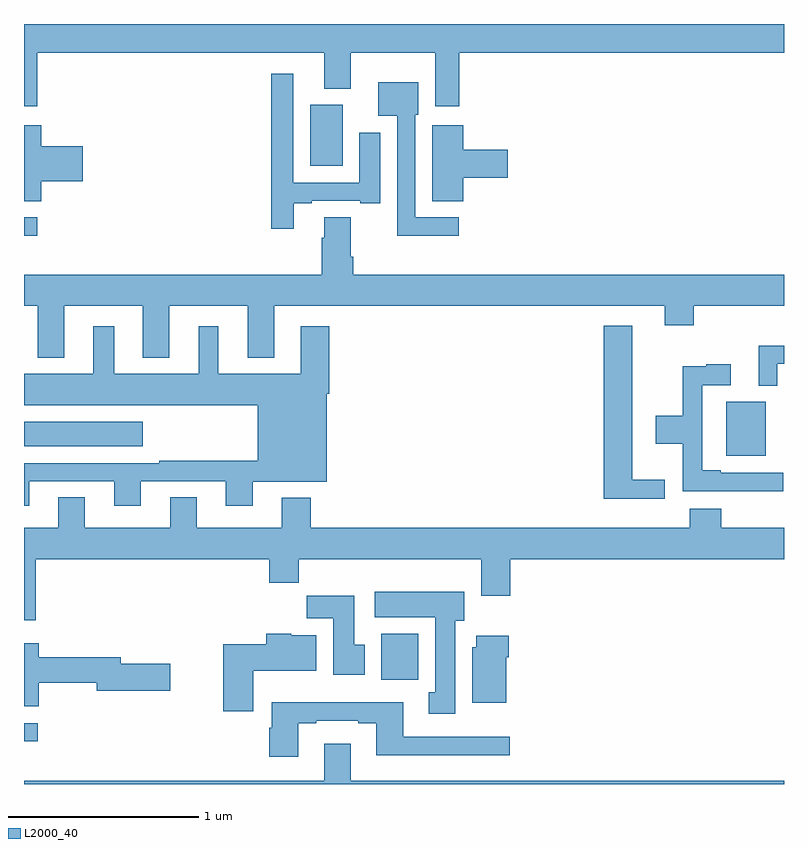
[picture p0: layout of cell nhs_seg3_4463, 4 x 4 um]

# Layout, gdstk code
import gdstk
lib = gdstk.Library(unit=1e-6, precision=1e-09)
def R(c, l, rs):  # rectangles x0, y0, x1, y1
    for r in rs: c.add(gdstk.rectangle(r[:2], r[2:], *l))
def P(c, l, *ps):  # polygons
    for p in ps: c.add(gdstk.Polygon(p, *l))
L2000_40 = (2000, 40)

nhs_seg3_4463 = lib.new_cell('nhs_seg3_4463')
R(nhs_seg3_4463, L2000_40, [(349,698.625,349.072,698.721), (350.879,698.948,351.076,699.19), (352.697,700.127,352.903,700.411), (349,700.178,349.624,700.306), (349,701.285,349.069,701.382), (350.507,701.654,350.677,701.974)])
P(nhs_seg3_4463, L2000_40, [(349.07,702.248),(350.579,702.248),(350.579,702.059),(350.719,702.059),(350.719,702.248),(351.164,702.248),(351.164,701.967),(351.29,701.967),(351.29,702.248),(353,702.248),(353,702.4),(349,702.4),(349,701.967),(349.07,701.967)],
  [(350.419,701.457),(350.515,701.457),(350.515,701.469),(350.771,701.469),(350.771,701.457),(350.875,701.457),(350.875,701.827),(350.765,701.827),(350.765,701.565),(350.418,701.565),(350.418,702.139),(350.302,702.139),(350.302,701.322),(350.419,701.322)],
  [(351.289,701.382),(351.06,701.382),(351.06,701.922),(351.076,701.922),(351.076,702.094),(350.864,702.094),(350.864,701.918),(350.964,701.918),(350.964,701.285),(351.289,701.285)],
  [(351.311,701.591),(351.547,701.591),(351.547,701.738),(351.311,701.738),(351.311,701.866),(351.149,701.866),(351.149,701.467),(351.311,701.467)],
  [(349.091,701.573),(349.309,701.573),(349.309,701.756),(349.091,701.756),(349.091,701.866),(349,701.866),(349,701.467),(349.091,701.467)],
  [(349.213,700.916),(349.625,700.916),(349.625,700.643),(349.765,700.643),(349.765,700.916),(350.177,700.916),(350.177,700.643),(350.317,700.643),(350.317,700.916),(352.373,700.916),(352.373,700.814),(352.526,700.814),(352.526,700.916),(353,700.916),(353,701.08),(350.732,701.08),(350.732,701.176),(350.719,701.176),(350.719,701.384),(350.579,701.384),(350.579,701.276),(350.567,701.276),(350.567,701.08),(349,701.08),(349,700.916),(349.073,700.916),(349.073,700.643),(349.213,700.643)],
  [(352.372,700.001),(352.201,700.001),(352.201,700.813),(352.052,700.813),(352.052,699.902),(352.372,699.902)],
  [(349.027,699.993),(349.475,699.993),(349.475,699.864),(349.615,699.864),(349.615,699.993),(350.063,699.993),(350.063,699.864),(350.203,699.864),(350.203,699.992),(350.593,699.992),(350.593,700.454),(350.606,700.454),(350.606,700.81),(350.456,700.81),(350.456,700.558),(350.023,700.558),(350.023,700.81),(349.919,700.81),(349.919,700.558),(349.474,700.558),(349.474,700.81),(349.364,700.81),(349.364,700.558),(349,700.558),(349,700.394),(350.231,700.394),(350.231,700.102),(349.711,700.102),(349.711,700.089),(349,700.089),(349,699.864),(349.027,699.864)],
  [(352.965,700.611),(353,700.611),(353,700.707),(352.868,700.707),(352.868,700.496),(352.965,700.496)],
  [(352.996,700.038),(352.666,700.038),(352.666,700.051),(352.569,700.051),(352.569,700.5),(352.72,700.5),(352.72,700.609),(352.592,700.609),(352.592,700.598),(352.468,700.598),(352.468,700.338),(352.326,700.338),(352.326,700.19),(352.468,700.19),(352.468,699.942),(352.753,699.942),(352.753,699.941),(352.996,699.941)],
  [(349.061,699.584),(350.291,699.584),(350.291,699.46),(350.447,699.46),(350.447,699.584),(351.407,699.584),(351.407,699.39),(351.56,699.39),(351.56,699.584),(353,699.584),(353,699.748),(352.67,699.748),(352.67,699.85),(352.505,699.85),(352.505,699.748),(350.51,699.748),(350.51,699.907),(350.357,699.907),(350.357,699.748),(349.909,699.748),(349.909,699.908),(349.769,699.908),(349.769,699.748),(349.321,699.748),(349.321,699.908),(349.181,699.908),(349.181,699.748),(349,699.748),(349,699.261),(349.061,699.261)],
  [(351.271,699.258),(351.316,699.258),(351.316,699.412),(350.847,699.412),(350.847,699.278),(351.164,699.278),(351.164,698.882),(351.131,698.882),(351.131,698.769),(351.271,698.769)],
  [(350.794,699.132),(350.737,699.132),(350.737,699.391),(350.488,699.391),(350.488,699.272),(350.627,699.272),(350.627,698.976),(350.794,698.976)],
  [(350.206,698.996),(350.539,698.996),(350.539,699.184),(350.406,699.184),(350.406,699.19),(350.276,699.19),(350.276,699.136),(350.048,699.136),(350.048,698.784),(350.206,698.784)],
  [(351.538,699.068),(351.551,699.068),(351.551,699.181),(351.38,699.181),(351.38,699.12),(351.359,699.12),(351.359,698.828),(351.538,698.828)],
  [(349.078,698.932),(349.382,698.932),(349.382,698.89),(349.771,698.89),(349.771,699.032),(349.51,699.032),(349.51,699.068),(349.078,699.068),(349.078,699.142),(349,699.142),(349,698.81),(349.078,698.81)],
  [(350.443,698.721),(350.539,698.721),(350.539,698.733),(350.759,698.733),(350.759,698.721),(350.855,698.721),(350.855,698.552),(351.556,698.552),(351.556,698.649),(350.995,698.649),(350.995,698.83),(350.303,698.83),(350.303,698.696),(350.291,698.696),(350.291,698.544),(350.443,698.544)],
  [(353,698.416),(350.719,698.416),(350.719,698.611),(350.579,698.611),(350.579,698.416),(349,698.416),(349,698.4),(353,698.4)])

lib.write_gds('nhs_seg3_4463.gds')
